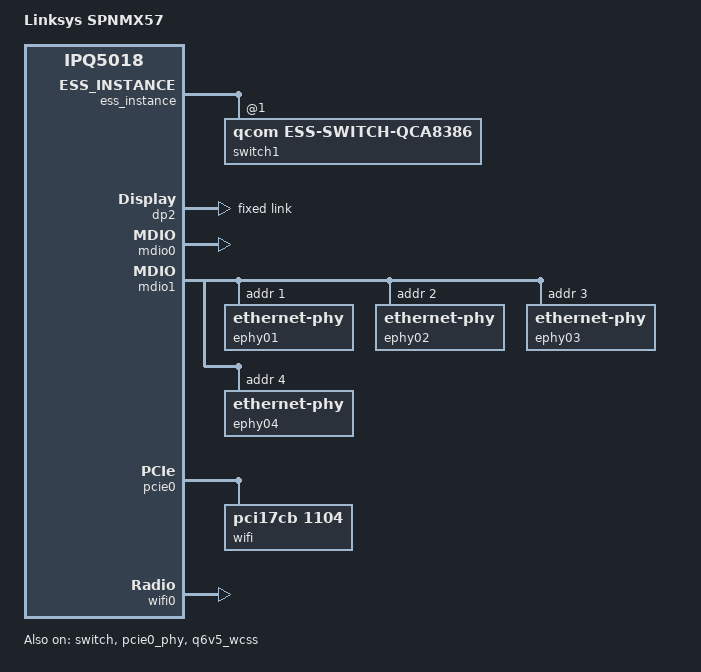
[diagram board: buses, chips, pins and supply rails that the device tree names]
// SPDX-License-Identifier: GPL-2.0
/dts-v1/;

#include "ipq5018.dtsi"
#include "ipq5018-mx-base.dtsi"

/ {
	model = "Linksys SPNMX57";
	compatible = "linksys,spnmx57", "qcom,ipq5018";
};

/*
* =================================================================
*  Unlike the SPNMX56, there is no QCA8337 and no QCA8081. A single
*  QCA8386 carries four QCA8084 EPHYs, reached over MDIO1, and hangs
*  off MAC1 on one forced 2.5G SGMII+ link. MAC0 and its internal GE
*  PHY exist in silicon but are not wired to any socket.
*
*     _______________________            ___________________________
*    |        IPQ5018        |          |          QCA8386          |
*    |                       |          |  port0 = CPU, 2500/full   |
*    | +------+   +--------+ |          |  port1 -- QCA8084 EPHY @1 |
*    | | MAC1 |---| Uniphy |-+-SGMII+---+  port2 -- QCA8084 EPHY @2 |
*    | +------+   +--------+ |  2.5G    |  port3 -- QCA8084 EPHY @3 |
*    |_______________________|          |  port4 -- QCA8084 EPHY @4 |
*                                       |___________________________|
*
*  Source: the vendor's own device tree, extracted from the stock OEM
*  image (see collected/vendor/ in the project repo). Values marked
*  [vendor] are lifted from it directly.
* =================================================================
*/

&ess_instance {
	/* [vendor] num_devices = <2>: the SoC ESS plus the QCA8386 */
	num_devices = <2>;

	/*
	 * [vendor] ess-switch1@1. The SSDK already carries full MHT
	 * (QCA8084/QCA8386) support: qca_mht_hw_init() clocks the chip,
	 * qca_mht_work_mode_init() applies the two mac modes below, and
	 * qca_mht_ephy_addr_get() reads the EPHY addresses back out of the
	 * strap register. So this node is a description, not a driver gap.
	 */
	switch1: ess-switch1@1 {
		compatible = "qcom,ess-switch-qca8386";
		device_id = <1>;
		switch_access_mode = "mdio";
		mdio-bus = <&mdio1>;

		/* [vendor] 0x0c = MAC_MODE_SGMII_PLUS on the uplink,
		 * 0xff = MAC_MODE_DISABLED on the unused second uplink */
		switch_mac_mode = <MAC_MODE_SGMII_CHANNEL0>;
		switch_mac_mode1 = <MAC_MODE_DISABLED>;

		/* [vendor] port0 is the CPU port, ports 1-4 are LAN,
		 * and there is no hardware WAN port on this switch */
		switch_cpu_bmp = <ESS_PORT0>;
		switch_lan_bmp = <(ESS_PORT1 | ESS_PORT2 | ESS_PORT3 | ESS_PORT4)>;
		switch_wan_bmp = <0>;

		qcom,port_phyinfo {
			/* [vendor] CPU port, fixed 2.5G, no PHY */
			port@0 {
				port_id = <0>;
				forced-speed = <1000>;
				forced-duplex = <1>;
			};

			/* [vendor] the four QCA8084 EPHYs at MDIO 1..4 */
			/*
			 * Back to the vendor's 1,2,3,4, and this time for a reason
			 * rather than by inheritance.
			 *
			 * EPHY_CFG does read 0x00318820 on a cold chip, which decodes
			 * to strap addresses 0,1,2,3, and that is what this file said
			 * for a while. But the strap is only the power-on default.
			 * Ghidra decompilation of the vendor U-Boot shows FUN_4a94c7d0
			 * overwriting EPHY_CFG's low 20 bits with a hardcoded 0x20c41
			 * immediately after bring-up, which is the same four 5-bit
			 * fields holding 1,2,3,4. The preinit patch now does the same
			 * write, so 1,2,3,4 is where the EPHYs actually end up.
			 *
			 * Corroborated by the vendor's own in-use address bitmap in
			 * that function, 0xffff001e: bits 1-4 marked taken for these
			 * four EPHYs, and bits 16-31 for the switch register window,
			 * which is exactly the 0x10-0x1f block seen answering on the
			 * live bus.
			 */
			port@1 {
				port_id = <1>;
				phy_address = <1>;
			};

			port@2 {
				port_id = <2>;
				phy_address = <2>;
			};

			port@3 {
				port_id = <3>;
				phy_address = <3>;
			};

			port@4 {
				port_id = <4>;
				phy_address = <4>;
			};
		};
	};
};

&switch {
	status = "okay";

	/* [vendor] SGMII+ toward the QCA8386, not SGMII_CHANNEL0 as on the 56 */
	switch_mac_mode = <MAC_MODE_SGMII_CHANNEL0>;

	/*
	 * The port bitmap for the SoC ESS. Without these the RX MAC is never
	 * enabled and nothing is ever received.
	 *
	 * ssdk_dt_parse_port_bmp() reads switch_cpu_bmp, switch_lan_bmp and
	 * switch_wan_bmp with a single combined condition, so all three have to
	 * be present or none of them are used; it then sets the working bitmap
	 * to lan_bmp | wan_bmp. Declaring none of them left it at zero, which
	 * logs the mild-looking "port_bmp doesn't exist!" at boot and then bites
	 * much later: adpt_mp_port_netdev_change_notify() checks the netdev's
	 * port against that bitmap, fails it with
	 *
	 *   adpt_mp_port_netdev_change_notify: netdev change notify with incorrect port 0
	 *   ssdk_dev_event: netdev change notify failed
	 *
	 * and returns before reaching adpt_mp_port_rxmac_status_set(A_TRUE).
	 * The transmit path is unaffected, which is exactly the symptom seen
	 * with a live cable in port 1: tx_packets climbing, rx_packets stuck
	 * at 0.
	 *
	 * Port 1 is MAC0's internal GE PHY, port 2 is MAC1 into the QCA8386.
	 * There is no CPU port on this side of the link.
	 */
	switch_cpu_bmp = <0>;
	switch_lan_bmp = <(ESS_PORT1 | ESS_PORT2)>;
	switch_wan_bmp = <0>;

	qcom,port_phyinfo {
		/*
		 * [vendor] MAC0 -> internal GE PHY at mdio0 address 7.
		 *
		 * This entry is REQUIRED even though MAC0 drives no socket. On
		 * ipq5018 chip_ver_get() finds no matching QCA_VER_* from the
		 * local-bus read and falls through to chip_is_scomphy(), which
		 * calls qca_detect_phyid(0) and reads the PHY at this address.
		 * Delete it and device 0 fails with -ENODEV too, exactly as
		 * device 1 does. The vendor tree declares it for the same reason.
		 */
		port@0 {
			port_id = <1>;
			mdiobus = <&mdio0>;
			phy_address = <7>;
		};

		/*
		 * [vendor] MAC1 -> UNIPHY1 -> QCA8386, forced 2.5G, no PHY.
		 *
		 * There is deliberately no port@0 here. The vendor declares one
		 * for MAC0 but defines no nss-dp node to go with it, so it is
		 * AP-MP03.1 reference board boilerplate rather than a real port.
		 */
		port@1 {
			port_id = <2>;
			forced-speed = <1000>;
			forced-duplex = <1>;
		};
	};
};

/*
 * The only data port. dp1 (MAC0) stays disabled: its GE PHY is real
 * silicon but is not wired to a socket on this board.
 */
&dp2 {
	status = "okay";

	label = "lan";

	nvmem-cells = <&hw_mac_addr 0>;
	nvmem-cell-names = "mac-address";

	/*
	 * There is no PHY on this link to connect to. MAC1 goes out over
	 * UNIPHY1 as SGMII+ straight into the QCA8386's CPU port, so nss-dp
	 * has to be told the link parameters rather than negotiating them:
	 *
	 *   nss-dp 39d00000.dp2 lan: failed to connect to phy device
	 *   nss-dp 39d00000.dp2: probe with driver nss-dp failed with error -14
	 *
	 * The speed here is 1000 rather than the 2500 this link actually runs
	 * at, and that is deliberate. of_phy_register_fixed_link() goes through
	 * the kernel's software PHY, which only decodes 10, 100 and 1000:
	 *
	 *   swphy: unknown speed
	 *   dp2: fail to register fixed-link: -22
	 *
	 * The real rate is not set here anyway. qca-ssdk drives it from
	 * switch_mac_mode = MAC_MODE_SGMII_PLUS and the qca8386 port@0 entry
	 * carrying forced-speed = <2500>, forced-duplex = <1>. This subnode
	 * exists only to give nss-dp a link to attach to.
	 */
	fixed-link {
		speed = <1000>;
		full-duplex;
	};
};

/*
 * mdio0 must be enabled even though MAC0 is not wired to a socket.
 *
 * The SSDK's ssdk_dt_get_mdio_node() finds its default bus by compatible
 * string, and mdio@88000 is the only node carrying "qcom,ipq40xx-mdio".
 * Leaving it disabled means no platform device is created for it, so
 * of_find_device_by_node() returns NULL and ssdk_dt_parse_default_mdio_bus()
 * fails with "cannot find platform device from mdio node" -- which aborts
 * the whole SSDK init ("no device found") and then oopses qca_nss_dp.
 *
 * The vendor tree has mdio@88000 status = "ok" for the same reason.
 */
&mdio0 {
	status = "okay";
};

&mdio1 {
	status = "okay";

	/*
	 * Read-only diagnostic preinit: reads EPHY_CFG and logs each port's
	 * current strap address to the kernel log at probe time, using the
	 * protocol reverse engineered from the vendor U-Boot (see
	 * docs/uboot-qca8084-protocol.md). Writes nothing. Needs
	 * 0919-net-mdio-ipq4019-add-QCA8084-preinit-for-SPNMX57.patch.
	 */
	qcom,qca8084-preinit;

	/* TEST BUILD ONLY: full bring-up instrumentation on. Drop this
	 * line again before cutting another release image. */
	qcom,qca8084-preinit-debug;

	/* 2026-09-04 bisect: reproduce the preinit an EPHY was last seen linked with:
	 * the U-Boot software trims on, the analogue block (hw_init/PLL/LDO) off. */
	qcom,qca8084-software-trims;

	pinctrl-0 = <&mdio1_pins>;
	pinctrl-names = "default";

	/*
	 * [vendor] phy-reset-gpio = <&tlmm 0x18 0x00>, i.e. gpio24, which is
	 * the QCA8386 package reset. The 56 uses gpio39 here for its QCA8337,
	 * which is a different line entirely and does nothing useful on this
	 * board.
	 *
	 * [GUESS] the polarity. The vendor flag cell is 0, but vendor code
	 * commonly ignores the flag and pulses the line low then high, so
	 * ACTIVE_LOW is what matches the behaviour. If the package never
	 * comes out of reset, try ACTIVE_HIGH.
	 */
	/*
	 * Deliberately NOT called "reset-gpios". __mdiobus_register() claims
	 * and pulses a property of that name itself, and preinit now runs
	 * before registration, so leaving it as "reset-gpios" means the
	 * package is still held in reset for the whole of preinit (every
	 * transaction reads 0xffffffff) and is then reset a second time
	 * afterwards, throwing away the clock/reset/calibration work.
	 * Under the private name, the preinit code owns the line and
	 * __mdiobus_register() leaves it alone.
	 */
	qca8084-reset-gpios = <&tlmm 24 GPIO_ACTIVE_LOW>;
	reset-delay-us = <10000>;
	reset-post-delay-us = <50000>;

	/*
	 * Real phy nodes for the four QCA8084 EPHYs.
	 *
	 * These are not the old diagnostic stubs, which existed only to make
	 * of_mdiobus_register() probe every address and print what was missing.
	 * These four are the actual PHYs, and they are needed because qca-ssdk
	 * looks up a Linux phy_device for each port's phy_address and refuses
	 * to continue without one:
	 *
	 *   hsl_phy_phydev_get: ERROR: phy_addr 1 phydev is NULL
	 *
	 * They answer now, reporting PHY ID 0x004dd180 (QCA8084_PHY), which is
	 * why declaring them is finally meaningful rather than noise.
	 */
	ephy01: ethernet-phy@1 {
		reg = <0x01>;
	};

	ephy02: ethernet-phy@2 {
		reg = <0x02>;
	};

	ephy03: ethernet-phy@3 {
		reg = <0x03>;
	};

	ephy04: ethernet-phy@4 {
		reg = <0x04>;
	};

};

&pcie0_phy {
	status = "okay";
};

&pcie0 {
	status = "okay";

	perst-gpios = <&tlmm 15 GPIO_ACTIVE_LOW>;

	pcie@0 {
		wifi@0,0 {
			status = "okay";

			/* QCN9074: ath11k lacks DT compatible for PCI cards */
			compatible = "pci17cb,1104";
			reg = <0x00010000 0 0 0 0>;

			/*
			 * Deliberately the SPNMX56 calibration variant. Wi-Fi is
			 * already known good on this exact hardware with it, and a
			 * SPNMX57 variant does not exist in firmware_qca-wireless
			 * yet, so using one would silently fall back to a generic
			 * board file. Keep the known quantity while Ethernet is
			 * the thing under test.
			 */
			qcom,ath11k-calibration-variant = "Linksys-SPNMX56";
		};
	};
};
&q6v5_wcss {
	status = "okay";

	memory-region = <&q6_mem_regions>;
	firmware-name = "ath11k/IPQ5018/hw1.0/q6_fw.mdt",
			"ath11k/IPQ5018/hw1.0/m3_fw.mdt";

	// IPQ5018
	q6_wcss_pd1: pd-1 {
		firmware-name = "ath11k/IPQ5018/hw1.0/q6_fw.mdt";

		resets =
			<&gcc GCC_WCSSAON_RESET>,
			<&gcc GCC_WCSS_BCR>,
			<&gcc GCC_CE_BCR>;
		reset-names =
			"wcss_aon_reset",
			"wcss_reset",
			"ce_reset";

		clocks =
			<&gcc GCC_WCSS_AHB_S_CLK>,
			<&gcc GCC_WCSS_ACMT_CLK>,
			<&gcc GCC_WCSS_AXI_M_CLK>;
		clock-names =
			"gcc_wcss_ahb_s_clk",
			"gcc_wcss_acmt_clk",
			"gcc_wcss_axi_m_clk";

		interrupts-extended =
			<&wcss_smp2p_in 8 0>,
			<&wcss_smp2p_in 9 0>,
			<&wcss_smp2p_in 12 0>,
			<&wcss_smp2p_in 11 0>;
		interrupt-names =
			"fatal",
			"ready",
			"spawn-ack",
			"stop-ack";

		qcom,smem-states =
			<&wcss_smp2p_out 8>,
			<&wcss_smp2p_out 9>,
			<&wcss_smp2p_out 10>;
		qcom,smem-state-names =
			"shutdown",
			"stop",
			"spawn";
	};
};

&wifi0 {
	// IPQ5018
	qcom,rproc = <&q6_wcss_pd1>;
	qcom,ath11k-calibration-variant = "Linksys-SPNMX56";
	qcom,ath11k-fw-memory-mode = <1>;
	qcom,bdf-addr = <0x4c400000>;

	status = "okay";
};
